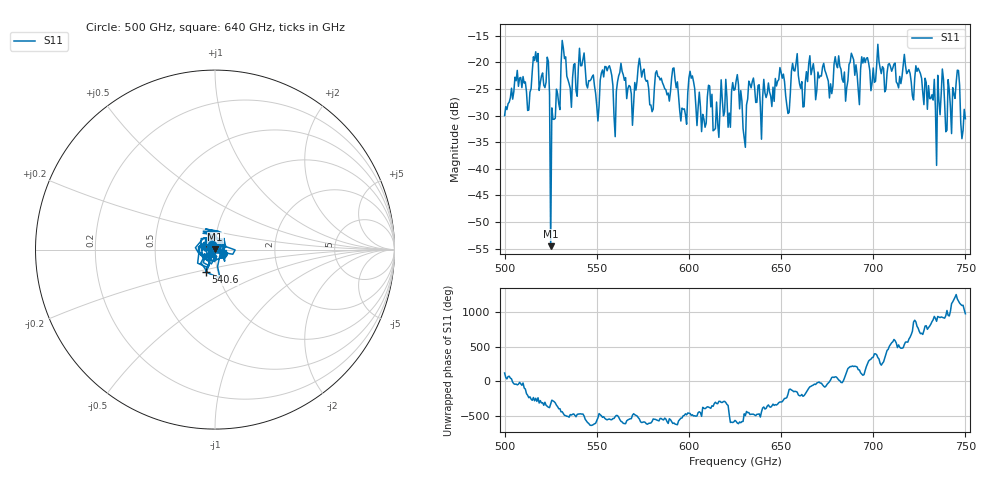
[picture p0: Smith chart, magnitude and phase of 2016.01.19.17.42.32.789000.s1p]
!Created with skrf (http://scikit-rf.org).
# GHz S RI R 50.0
!freq ReS11 ImS11
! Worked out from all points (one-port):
!   401 points, 500 GHz to 750 GHz, reference 50 ohm
!   lowest |S11| = -54.6 dB at 525 GHz (marker M1), VSWR 1.00, Z = 50.2 + j0.109 ohm
!   |S11| at or under -10 dB: start of sweep to end of sweep
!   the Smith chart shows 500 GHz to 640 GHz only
!   S11 on the Smith chart (normalised r, x): 500 GHz: 0.97, +0.05; 540.6 GHz: 0.87, -0.22; 640 GHz: 1.09, -0.04
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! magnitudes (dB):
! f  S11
! 500 GHz  -30.0
! 506.9 GHz  -21.5
! 513.1 GHz  -28.9
! 516.9 GHz  -18.0
! 523.1 GHz  -19.0
! 525 GHz  -54.6
! 526.2 GHz  -30.7
! 531.2 GHz  -15.9
! 540.6 GHz  -17.3
! 550 GHz  -28.1
! 560 GHz  -34.0
! 562.5 GHz  -21.9
! 593.8 GHz  -23.6
! 597.5 GHz  -28.7
! 601.2 GHz  -23.0
! 615 GHz  -27.4
! 625 GHz  -25.1
! 630 GHz  -34.2
! 633.8 GHz  -24.8
! 640 GHz  -26.5
! 650 GHz  -21.8
! 653.8 GHz  -29.6
! 656.2 GHz  -20.2
! 687.5 GHz  -19.9
! 718.8 GHz  -21.7
! 735 GHz  -22.4
! 745.6 GHz  -21.5
! 750 GHz  -30.6
